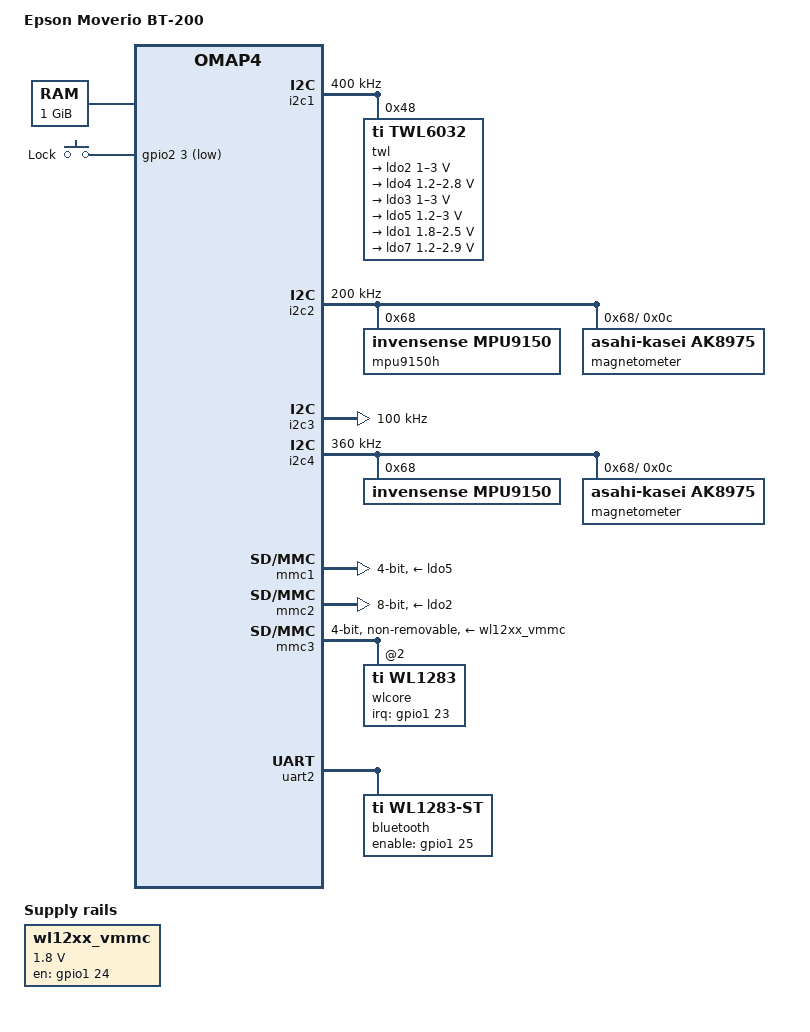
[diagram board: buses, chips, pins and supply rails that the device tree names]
// SPDX-License-Identifier: GPL-2.0-only
/*
 * Copyright (C) 2022 Andreas Kemnade
 */
/dts-v1/;

#include <dt-bindings/input/input.h>
#include "omap4460.dtsi"

/ {
	model = "Epson Moverio BT-200";
	compatible = "epson,embt2ws", "ti,omap4460", "ti,omap4430", "ti,omap4";
		
	memory@80000000 {
                device_type = "memory";
                reg = <0x80000000 0x40000000>; /* 1024M */
        };

        chosen {
                stdout-path = &uart3;
        };

	gpio-keys {
		compatible = "gpio-keys";
		pinctrl-names = "default";
		pinctrl-0 = <&gpio_keys_pins>;
		
		key-lock {
			label = "Lock";
			gpios = <&gpio2 3 GPIO_ACTIVE_LOW>;
			linux,code = <SW_ROTATE_LOCK>; /* SW_TOUCHPAD_LOCK */
			linux,input-type = <EV_SW>;
		};
	};
	
       /* regulator for wl12xx on sdio2 */
        wl12xx_vmmc: wl12xx-vmmc {
                pinctrl-names = "default";
                pinctrl-0 = <&wl12xx_gpio>;
                compatible = "regulator-fixed";
                regulator-name = "vwl1271";
                regulator-min-microvolt = <1800000>;
                regulator-max-microvolt = <1800000>;
                gpio = <&gpio1 24 GPIO_ACTIVE_HIGH>;
                startup-delay-us = <70000>;
                enable-active-high;
        };


};

&keypad {
	pinctrl-names = "default";
	pinctrl-0 = <&keypad_pins>;
	keypad,num-rows = <2>;
	keypad,num-columns = <3>;
	linux,keymap = <MATRIX_KEY(0, 0, KEY_MENU)
			MATRIX_KEY(0, 1, KEY_HOME)
			MATRIX_KEY(0, 2, KEY_BACK)
			MATRIX_KEY(1, 0, KEY_ESC)
			MATRIX_KEY(1, 1, KEY_VOLUMEDOWN)
			MATRIX_KEY(1, 2, KEY_VOLUMEUP)>;
	linux,input-no-autorepeat;
};

&omap4_pmx_core {
	bt_pins: pinmux_bt_pins {
		pinctrl-single,pins = <
			OMAP4_IOPAD(0x1ca, PIN_OUTPUT | MUX_MODE3) /* gpio25 */
		>;
	};

	gpio_keys_pins: pinmux-gpio-key-pins {
		pinctrl-single,pins = <
			OMAP4_IOPAD(0x56, PIN_INPUT_PULLUP | MUX_MODE3) /* gpio35 */
		>;
	};

	i2c1_pins: pinmux_i2c1_pins {
		pinctrl-single,pins = <
			   OMAP4_IOPAD(0x122, PIN_INPUT_PULLUP | MUX_MODE0)	/* i2c1_scl */
			   OMAP4_IOPAD(0x124, PIN_INPUT_PULLUP | MUX_MODE0)	/* i2c1_sda */
		>;
	};

	i2c2_pins: pinmux_i2c2_pins {
		pinctrl-single,pins = <
			OMAP4_IOPAD(0x126, PIN_INPUT | MUX_MODE0)	/* i2c2_scl */
			OMAP4_IOPAD(0x128, PIN_INPUT | MUX_MODE0)	/* i2c2_sda */
		>;
	};

	i2c3_pins: pinmux_i2c3_pins {
		pinctrl-single,pins = <
			OMAP4_IOPAD(0x12a, PIN_INPUT | MUX_MODE0)	/* i2c3_scl */
			OMAP4_IOPAD(0x12c, PIN_INPUT | MUX_MODE0)	/* i2c3_sda */
		>;
	};

	i2c4_pins: pinmux_i2c4_pins {
		pinctrl-single,pins = <
			OMAP4_IOPAD(0x12e, PIN_INPUT | MUX_MODE0)	/* i2c4_scl */
			OMAP4_IOPAD(0x130, PIN_INPUT | MUX_MODE0)	/* i2c4_sda */
		>;
	};

	keypad_pins: pinmux_keypad_pins {
		pinctrl-single,pins = <
			/* kpd_row0 */
			OMAP4_IOPAD(0x0050, PIN_INPUT_PULLUP | MUX_MODE1)
			/* kpd_row1 */
			OMAP4_IOPAD(0x0052, PIN_INPUT_PULLUP | MUX_MODE1)
			/* kpd_row2 */
			OMAP4_IOPAD(0x0054, PIN_INPUT_PULLUP | MUX_MODE1)
			/* kpd_col0 */
			OMAP4_IOPAD(0x0058, PIN_OUTPUT | MUX_MODE1)
			/* kpd_col1 */
			OMAP4_IOPAD(0x005a, PIN_OUTPUT | MUX_MODE1)
			/* kpd_col2 */
			OMAP4_IOPAD(0x005c, PIN_OUTPUT | MUX_MODE1)
		>;
	};

	mpu9150_pins: pinmux_mpu9150_pins {
		pinctrl-single,pins = <
			OMAP4_IOPAD(0x5e, PIN_INPUT_PULLUP | MUX_MODE3)
		>;
	};

	mpu9150h_pins: pinmux_mpu9150h_pins {
		pinctrl-single,pins = <
                        OMAP4_IOPAD(0x76, PIN_INPUT_PULLUP | MUX_MODE3)
		>;
	};

        uart2_pins: pinmux_uart2_pins {
                pinctrl-single,pins = <
                        OMAP4_IOPAD(0x118, PIN_INPUT_PULLUP | MUX_MODE0)  /* uart2_cts.uart2_cts */
                        OMAP4_IOPAD(0x11a, PIN_OUTPUT | MUX_MODE0)              /* uart2_rts.uart2_rts */
                        OMAP4_IOPAD(0x11c, PIN_INPUT_PULLUP | MUX_MODE0)        /* uart2_rx.uart2_rx */
                        OMAP4_IOPAD(0x11e, PIN_OUTPUT | MUX_MODE0)              /* uart2_tx.uart2_tx */
                >;
        };

	uart3_pins: pinmux_uart3_pins {
		    pinctrl-single,pins = <
			    OMAP4_IOPAD(0x144, PIN_INPUT | MUX_MODE0)               /* uart3_rx_irrx */
			    OMAP4_IOPAD(0x146, PIN_OUTPUT | MUX_MODE0)              /* uart3_tx_irtx */
			    >;
	    };

	usb_otg_hs_pins: pinmux_usb_otg_hs_pins {
			 pinctrl-single,pins = <
				 OMAP4_IOPAD(0x194, PIN_OUTPUT_PULLDOWN | MUX_MODE0)     /* usba0_otg_ce */
				 OMAP4_IOPAD(0x196, PIN_INPUT | MUX_MODE0)               /* usba0_otg_dp */
				 OMAP4_IOPAD(0x198, PIN_INPUT | MUX_MODE0)               /* usba0_otg_dm */
				 >;
		 };

	wl12xx_pins: pinmux_wl12xx_pins {
		pinctrl-single,pins = <
			OMAP4_IOPAD(0x1c6, PIN_INPUT | MUX_MODE3) /* gpio_23 / IRQ */
			OMAP4_IOPAD(0x16c, PIN_INPUT_PULLUP | MUX_MODE2) /* sdmmc3_dat2 */
			OMAP4_IOPAD(0x16e, PIN_INPUT_PULLUP | MUX_MODE2) /* sdmmc3_dat1 */
			OMAP4_IOPAD(0x170, PIN_INPUT_PULLUP | MUX_MODE2) /* sdmmc3_dat0 */
			OMAP4_IOPAD(0x172, PIN_INPUT_PULLUP | MUX_MODE2) /* sdmmc3_dat3 */
			OMAP4_IOPAD(0x174, PIN_INPUT_PULLUP | MUX_MODE2) /* sdmmc3_cmd */
			OMAP4_IOPAD(0x176, PIN_INPUT_PULLUP | MUX_MODE2) /* sdmmc3_clk */
		>;
	};

	wl12xx_gpio: pinmux_wl12xx_gpio {
		pinctrl-single,pins = <
			OMAP4_IOPAD(0x1c8, PIN_OUTPUT | MUX_MODE3)  /* gpio_24 / WLAN_EN */
		>;
	};
};

&i2c1 {
	pinctrl-names = "default";
	pinctrl-0 = <&i2c1_pins>;

	clock-frequency = <400000>;

	twl: pmic@48 {
		compatible = "ti,twl6032";
		reg = <0x48>;
		/* IRQ# = 7 */
		interrupts = <GIC_SPI 7 IRQ_TYPE_LEVEL_HIGH>; /* IRQ_SYS_1N cascaded to gic */
		interrupt-controller;
		#interrupt-cells = <1>;

		rtc {
			compatible = "ti,twl4030-rtc";
			interrupts = <11>;
		};

		ldo2: regulator-ldo2 {
			compatible = "ti,twl6032-ldo2";
			regulator-min-microvolt = <1000000>;
			regulator-max-microvolt = <3000000>;
		};

		ldo4: regulator-ldo4 {
			compatible = "ti,twl6032-ldo4";
			regulator-min-microvolt = <1200000>;
			regulator-max-microvolt = <2800000>;
		};

		ldo3: regulator-ldo3 {
			compatible = "ti,twl6032-ldo3";
			regulator-min-microvolt = <1000000>;
			regulator-max-microvolt = <3000000>;
		};

		ldo5: regulator-ldo5 {
			compatible = "ti,twl6032-ldo5";
			regulator-min-microvolt = <1200000>;
			regulator-max-microvolt = <3000000>;
		};

		ldo1: regulator-ldo1 {
			compatible = "ti,twl6032-ldo1";
			regulator-min-microvolt = <1800000>;
			regulator-max-microvolt = <2500000>;
		};

		ldo7: regulator-ldo7 {
			compatible = "ti,twl6032-ldo7";
			regulator-min-microvolt = <1200000>;
			regulator-max-microvolt = <2900000>;
		};

		ldoln: regulator-ldoln {
			compatible = "ti,twl6032-ldoln";
			regulator-always-on;
		};

		ldo6: regulator-ldo6 {
			compatible = "ti,twl6032-ldo6";
			regulator-always-on;
		};

		ldousb: regulator-ldousb {
			compatible = "ti,twl6032-ldousb";
			regulator-always-on;
		};

		vio: regulator-vio {
			compatible = "ti,twl6032-vio";
			regulator-always-on;
		};

		twl_usb_comparator: usb-comparator {
			compatible = "ti,twl6030-usb";
			interrupts = <4>, <10>;
		};

		twl_pwm: pwm {
			/* provides two PWMs (id 0, 1 for PWM1 and PWM2) */
			compatible = "ti,twl6030-pwm";
			#pwm-cells = <2>;
		};

		twl_pwmled: pwmled {
			/* provides one PWM (id 0 for Charging indicator LED) */
			compatible = "ti,twl6030-pwmled";
			#pwm-cells = <2>;
		};

		gpadc {
			compatible = "ti,twl6032-gpadc";
			interrupts = <3>;
			#io-channel-cells = <1>;
		};

	};
};

#include "twl6030_omap4.dtsi"

&twl_usb_comparator {
	usb-supply = <&ldousb>;
};


&i2c2 {
	pinctrl-names = "default";
	pinctrl-0 = <&i2c2_pins>;

	clock-frequency = <200000>;

	/* at head/glasses */
	mpu9150h: imu@68 {
		compatible = "invensense,mpu9150";
		reg = <0x68>;

		pinctrl-names = "default";
		pinctrl-0 = <&mpu9150h_pins>;
		interrupt-parent = <&gpio2>;
		interrupt = <19 IRQ_TYPE_LEVEL_HIGH>;

		i2c-gate {
			#address-cells = <1>;
			#size-cells = <0>;
			magnetometer@c {
				compatible = "asahi-kasei,ak8975";
				reg = <0x0c>;
			};
		};
	};
};	

&i2c3 {
	pinctrl-names = "default";
	pinctrl-0 = <&i2c3_pins>;

	clock-frequency = <100000>;
};

&i2c4 {
	pinctrl-names = "default";
	pinctrl-0 = <&i2c4_pins>;

	clock-frequency = <360000>;

	/* TODO: does not fully initialize */
	mpu9150: imu@68 {
		compatible = "invensense,mpu9150";
		reg = <0x68>;

		pinctrl-names = "default";
		pinctrl-0 = <&mpu9150_pins>;
		interrupt-parent = <&gpio2>;
		interrupt = <7 IRQ_TYPE_LEVEL_HIGH>;

		i2c-gate {
			#address-cells = <1>;
			#size-cells = <0>;
			magnetometer@c {
				compatible = "asahi-kasei,ak8975";
				reg = <0x0c>;
			};
		};
	};
};


&mmc1 {
	/* sdcard */
	vmmc-supply = <&ldo5>;
	bus-width = <4>;
};

&mmc2 {
	/* emmc */
	vmmc-supply = <&ldo2>;
	bus-width = <8>;
};

&mmc3 {
	pinctrl-names = "default";
	pinctrl-0 = <&wl12xx_pins>;
	vmmc-supply = <&wl12xx_vmmc>;
/*
	interrupts-extended = <&wakeupgen GIC_SPI 94 IRQ_TYPE_LEVEL_HIGH
			       &omap4_pmx_core 0xxxxx>;
*/
	non-removable;
	bus-width = <4>;
	cap-power-off-card;

	#address-cells = <1>;
	#size-cells = <0>;
	/* TODO: does not show up */
	wlcore: wlcore@2 {
		compatible = "ti,wl1283";
		reg = <2>;
		/* gpio_23 with XXXXX pad as wakeup */
		interrupts-extended = <&gpio1 23 IRQ_TYPE_LEVEL_HIGH>
				      /* <&omap4_pmx_core 0x3a> */;
		interrupt-names = "irq" /*, "wakeup" */;
		ref-clock-frequency = <26000000>;
		tcxo-clock-frequency = <26000000>;
	};
};

&mmc4 {
	status = "disabled";
};

&mmc5 {
	status = "disabled";
};

&uart2 {
	pinctrl-names = "default";
	pinctrl-0 = <&uart2_pins &bt_pins>;
	interrupts-extended = <&wakeupgen GIC_SPI 73 IRQ_TYPE_LEVEL_HIGH
			       &omap4_pmx_core OMAP4_UART2_RX>;

	bluetooth: tiwi {
		compatible = "ti,wl1283-st";
		enable-gpios = <&gpio1 25 GPIO_ACTIVE_HIGH>;	/* GPIO_25 */
	};
};

&uart3 {
	pinctrl-names = "default";
	pinctrl-0 = <&uart3_pins>;
	interrupts-extended = <&wakeupgen GIC_SPI 74 IRQ_TYPE_LEVEL_HIGH
			       &omap4_pmx_core OMAP4_UART3_RX>;
};

&usb_otg_hs {
	pinctrl-names = "default";
	pinctrl-0 = <&usb_otg_hs_pins>;

	interface-type = <1>;
	mode = <3>;
	power = <50>;
};

&usbhshost {
	status = "disabled";
};
